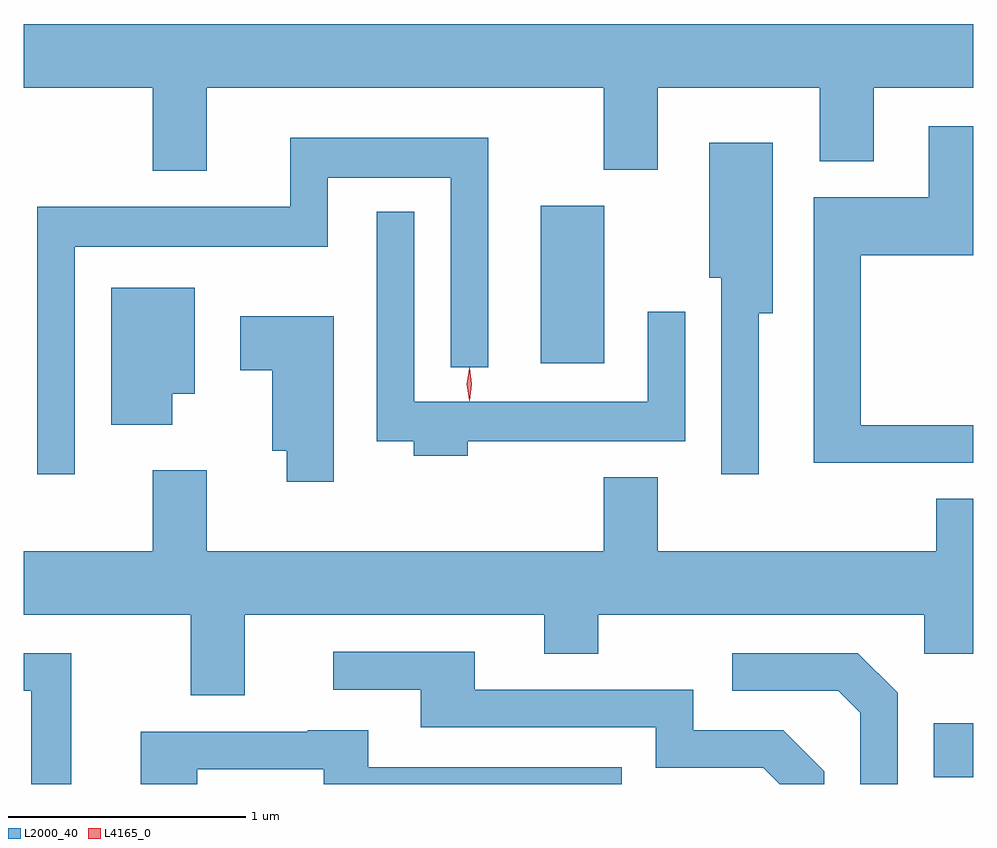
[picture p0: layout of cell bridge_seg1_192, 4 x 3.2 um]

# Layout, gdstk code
import gdstk
lib = gdstk.Library(unit=1e-6, precision=1e-09)
def R(c, l, rs):  # rectangles x0, y0, x1, y1
    for r in rs: c.add(gdstk.rectangle(r[:2], r[2:], *l))
def P(c, l, *ps):  # polygons
    for p in ps: c.add(gdstk.Polygon(p, *l))
L2000_40 = (2000, 40)
L4165_0 = (4165, 0)

bridge_seg1_192 = lib.new_cell('bridge_seg1_192')
R(bridge_seg1_192, L2000_40, [(706.791,952.171,706.958,952.399), (705.136,953.916,705.404,954.579)])
P(bridge_seg1_192, L2000_40, [(703.729,955.076),(705.401,955.076),(705.401,954.731),(705.629,954.731),(705.629,955.076),(706.311,955.076),(706.311,954.766),(706.539,954.766),(706.539,955.076),(706.958,955.076),(706.958,955.344),(702.958,955.344),(702.958,955.076),(703.501,955.076),(703.501,954.726),(703.729,954.726)],
  [(706.958,953.654),(706.484,953.654),(706.484,954.371),(706.958,954.371),(706.958,954.914),(706.771,954.914),(706.771,954.614),(706.286,954.614),(706.286,953.496),(706.958,953.496)],
  [(703.174,954.406),(704.239,954.406),(704.239,954.696),(704.756,954.696),(704.756,953.898),(704.914,953.898),(704.914,954.864),(704.081,954.864),(704.081,954.574),(703.016,954.574),(703.016,953.448),(703.174,953.448)],
  [(706.054,954.126),(706.114,954.126),(706.114,954.844),(705.846,954.844),(705.846,954.276),(705.896,954.276),(705.896,953.448),(706.054,953.448)],
  [(704.829,953.586),(705.744,953.586),(705.744,954.133),(705.586,954.133),(705.586,953.754),(704.604,953.754),(704.604,954.553),(704.446,954.553),(704.446,953.586),(704.601,953.586),(704.601,953.526),(704.829,953.526)],
  [(703.584,953.786),(703.679,953.786),(703.679,954.234),(703.326,954.234),(703.326,953.656),(703.584,953.656)],
  [(704.264,954.114),(703.871,954.114),(703.871,953.886),(704.006,953.886),(704.006,953.546),(704.066,953.546),(704.066,953.416),(704.264,953.416)],
  [(703.889,952.856),(705.151,952.856),(705.151,952.691),(705.379,952.691),(705.379,952.856),(706.751,952.856),(706.751,952.691),(706.958,952.691),(706.958,953.344),(706.801,953.344),(706.801,953.124),(705.629,953.124),(705.629,953.434),(705.401,953.434),(705.401,953.124),(703.729,953.124),(703.729,953.464),(703.501,953.464),(703.501,953.124),(702.958,953.124),(702.958,952.856),(703.661,952.856),(703.661,952.516),(703.889,952.516)],
  [(706.329,952.197),(706.157,952.369),(705.779,952.369),(705.779,952.539),(704.859,952.539),(704.859,952.699),(704.263,952.699),(704.263,952.541),(704.631,952.541),(704.631,952.381),(705.621,952.381),(705.621,952.211),(706.074,952.211),(706.142,952.143),(706.329,952.143)],
  [(706.639,952.527),(706.472,952.694),(705.943,952.694),(705.943,952.536),(706.389,952.536),(706.481,952.444),(706.481,952.143),(706.639,952.143)],
  [(703.159,952.694),(702.958,952.694),(702.958,952.536),(702.991,952.536),(702.991,952.143),(703.159,952.143)],
  [(703.689,952.206),(704.221,952.206),(704.221,952.143),(705.478,952.143),(705.478,952.214),(704.409,952.214),(704.409,952.369),(704.155,952.369),(704.155,952.364),(703.451,952.364),(703.451,952.143),(703.689,952.143)])
P(bridge_seg1_192, L4165_0, [(704.834,953.759),(704.834,953.76),(704.824,953.826),(704.834,953.892),(704.834,953.893),(704.835,953.892),(704.844,953.826),(704.835,953.76)],
  [(704.835,953.757),(704.826,953.827),(704.835,953.896),(704.836,953.896),(704.836,953.896),(704.845,953.827),(704.836,953.757),(704.836,953.757)])

lib.write_gds('bridge_seg1_192.gds')
